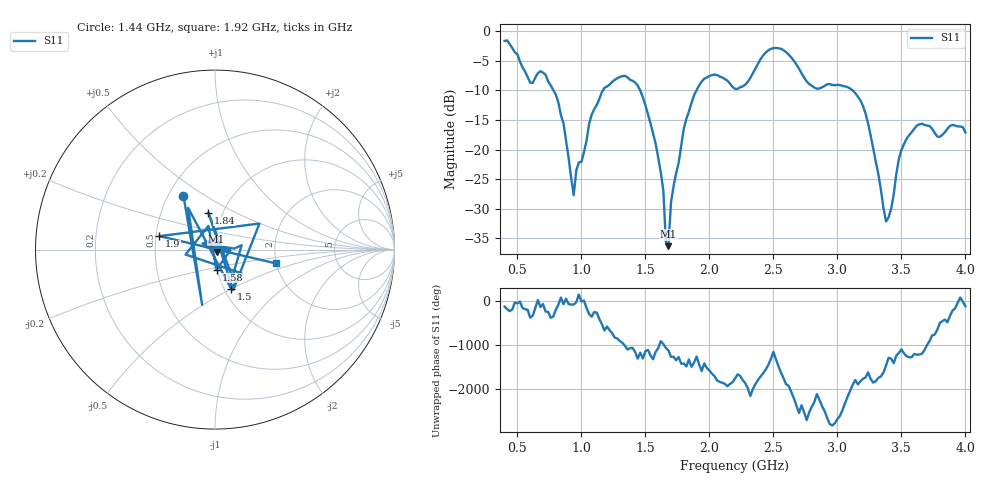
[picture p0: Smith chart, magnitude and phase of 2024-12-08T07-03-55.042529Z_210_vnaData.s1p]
!Created with skrf (http://scikit-rf.org).
# Hz S RI R 50.0
!freq ReS11 ImS11
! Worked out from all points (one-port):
!   181 points, 400 MHz to 4 GHz, reference 50 ohm
!   lowest |S11| = -36.3 dB at 1.68 GHz (marker M1), VSWR 1.03, Z = 50.9 - j1.25 ohm
!   |S11| at or under -10 dB: 781.7 MHz to 1.168 GHz (386 MHz wide, 39.6 % of centre); 1.46 GHz to 1.899 GHz (438.9 MHz wide, 26.1 % of centre); 3.119 GHz to end of sweep
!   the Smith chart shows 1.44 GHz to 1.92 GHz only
!   S11 on the Smith chart (normalised r, x): 1.44 GHz: 0.60, +0.41; 1.5 GHz: 1.08, -0.50; 1.58 GHz: 0.99, -0.22; 1.84 GHz: 0.86, +0.37; 1.9 GHz: 0.52, +0.09; 1.92 GHz: 1.99, -0.35
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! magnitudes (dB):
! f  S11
! 400 MHz  -1.6
! 600 MHz  -8.7
! 720 MHz  -7.3
! 860 MHz  -15.5
! 940 MHz  -27.7
! 1.08 GHz  -14.1
! 1.3 GHz  -7.7
! 1.44 GHz  -9.2
! 1.5 GHz  -12.5
! 1.58 GHz  -19.0
! 1.64 GHz  -26.9
! 1.66 GHz  -35.7
! 1.68 GHz  -36.3
! 1.7 GHz  -28.9
! 1.76 GHz  -22.2
! 1.84 GHz  -13.6
! 1.9 GHz  -9.9
! 1.92 GHz  -9.1
! 2.2 GHz  -9.7
! 2.48 GHz  -3.0
! 2.66 GHz  -5.0
! 2.82 GHz  -9.5
! 3.1 GHz  -9.7
! 3.22 GHz  -13.9
! 3.38 GHz  -32.2
! 3.48 GHz  -21.6
! 3.56 GHz  -17.6
! 4 GHz  -17.1
